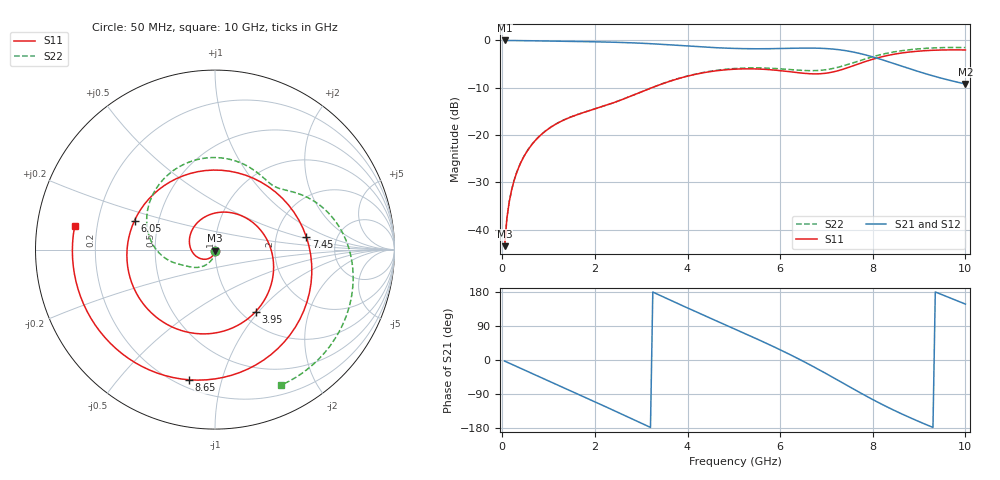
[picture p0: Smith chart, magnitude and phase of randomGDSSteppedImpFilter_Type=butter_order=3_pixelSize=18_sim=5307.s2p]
! freq	dB(S11)	phase(S11)	dB(S12)	phase(S12)
!  dB(S21)	phase(S21)	dB(S22)	phase(S22)
!S-par simulation data
#  GHz  S  DB  R 50
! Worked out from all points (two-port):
!   200 points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, 50 MHz to 10 GHz, reference 50 ohm
!   highest |S21| = -0.01 dB at 50 MHz (marker M1); lowest = -9.2 dB at 10 GHz (marker M2)
!   |S21| within 3 dB of the highest: start of sweep to 7.823 GHz
!   lowest |S11| = -43.4 dB at 50 MHz (marker M3), VSWR 1.01, Z = 50 - j0.672 ohm
!   |S11| at or under -10 dB: start of sweep to 3.226 GHz
!   |S22| runs from -43.4 to -1.5 dB; largest |S21 - S12| = 0
!   S11 on the Smith chart (normalised r, x): 50 MHz: 1.00, -0.01; 3.95 GHz: 1.15, -0.96; 6.05 GHz: 0.36, +0.15; 7.45 GHz: 2.99, +0.58; 8.65 GHz: 0.25, -0.79; 10 GHz: 0.12, +0.08
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0.05  -43.44 -92.3  -0.01 -2.8  -0.01 -2.8  -43.44 -90.7
0.1  -37.53 -96.2  -0.01 -5.6  -0.01 -5.6  -37.50 -92.8
0.2  -31.64 -104.1  -0.02 -11.1  -0.02 -11.1  -31.61 -97.0
0.5  -23.96 -126.9  -0.06 -27.7  -0.06 -27.7  -23.92 -109.2
1.15  -17.71 -177.0  -0.15 -63.5  -0.15 -63.5  -17.68 -131.4
1.75  -15.24 132.1  -0.25 -96.5  -0.25 -96.5  -15.23 -146.8
2.2  -13.84 90.4  -0.33 -121.5  -0.33 -121.5  -13.84 -155.1
2.65  -12.25 48.0  -0.45 -146.8  -0.45 -146.8  -12.24 -163.2
3.4  -9.36 -16.4  -0.80 170.8  -0.80 170.8  -9.34 176.8
3.95  -7.67 -56.9  -1.14 140.1  -1.14 140.1  -7.63 156.4
4.5  -6.57 -93.6  -1.48 110.0  -1.48 110.0  -6.50 133.4
5.05  -6.06 -128.8  -1.70 80.1  -1.70 80.1  -5.91 109.4
5.6  -6.07 -165.5  -1.76 49.9  -1.76 49.9  -5.82 86.1
6.05  -6.44 160.1  -1.70 24.0  -1.70 24.0  -6.04 68.8
6.7  -7.06 96.9  -1.62 -16.4  -1.62 -16.4  -6.39 50.3
7.05  -6.84 55.7  -1.75 -39.8  -1.75 -39.8  -6.09 43.3
7.45  -5.78 8.0  -2.22 -67.4  -2.22 -67.4  -5.11 34.4
7.85  -4.43 -34.5  -3.08 -94.6  -3.08 -94.6  -3.86 21.8
8.35  -3.12 -78.5  -4.54 -126.3  -4.54 -126.3  -2.62 2.2
8.65  -2.62 -101.2  -5.51 -143.7  -5.51 -143.7  -2.14 -10.2
9.35  -2.06 -147.9  -7.63 179.5  -7.63 179.5  -1.57 -38.5
10  -2.02 170.6  -9.19 147.5  -9.19 147.5  -1.52 -64.0
